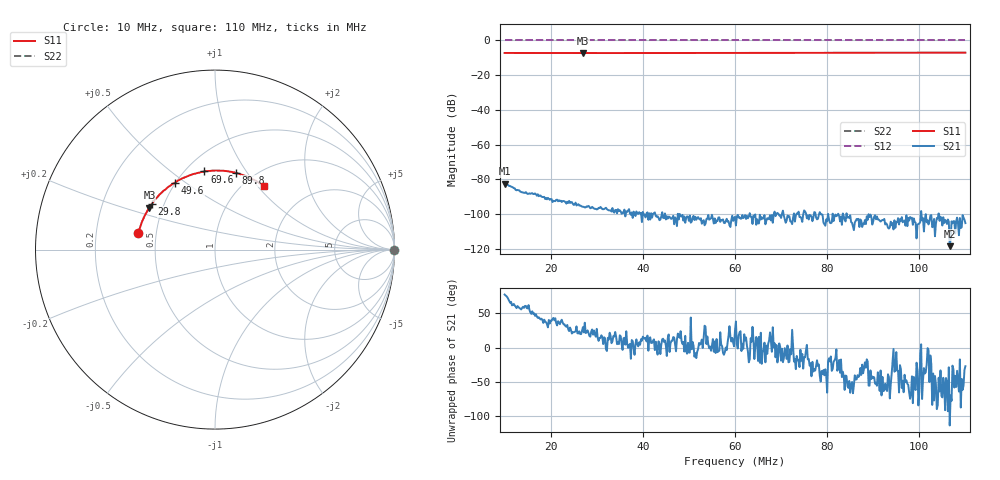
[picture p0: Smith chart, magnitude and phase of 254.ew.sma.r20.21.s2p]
! Anritsu VNA Master:  Model: MS2036C/10/77
! SN:  1601066
! /card0/usr/254.ew.sma.r20.21.s2p
! Existing Calibration Information:
! TYPE:  Current Settings,  Active Cal Settings
! TIME:  12/20/2017 01:01:08 PM,  12/20/2017 12:55:07 PM
! INTERNAL TEMP:  44.3 C,  44.3 C
! # POINTS:  501,  501
! START FREQ:  10.000 MHz,  10.000 MHz
! STOP FREQ:  110.000 MHz,  110.000 MHz
! SOURCE POWER:  High,  High
! IFBW:  100 Hz,  100 Hz
! AVG FACTOR:  1 ,  1
! REF PLANE 1:  0 mm,  0 mm
! REF PLANE 2:  0 mm,  0 mm
! CAL TYPE:  Full S11,  Full S11
! CAL METHOD:  SOLT,  SOLT
! CAL LINE TYPE:  Coax,  Coax
! DUT PORT 1:  N-Conn(F),  N-Conn(F)
! DUT PORT 2:  K-Conn(F),  K-Conn(F)
! CAL STATUS:  OK: Accuracy High,  --
# GHZ S DB R 50.0
! FREQ.GHZ  S11DB  S11A  S21DB  S21A  S12DB  S12A  S22DB  S22A
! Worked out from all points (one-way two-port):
!   501 points, 10 MHz to 110 MHz, reference 50 ohm
!   highest |S21| = -82.42 dB at 10 MHz (marker M1); lowest = -118.4 dB at 106.6 MHz (marker M2)
!   lowest |S11| = -7.3 dB at 27 MHz (marker M3), VSWR 2.53, Z = 21.2 + j12.2 ohm
!   |S11| at or under -10 dB: nowhere
!   |S22| runs from 0.0 to 0.0 dB; largest |S21 - S12| = 1
!   S11 on the Smith chart (normalised r, x): 10 MHz: 0.40, +0.09; 29.8 MHz: 0.43, +0.27; 49.6 MHz: 0.50, +0.46; 69.6 MHz: 0.62, +0.66; 89.8 MHz: 0.83, +0.89; 110 MHz: 1.23, +1.08
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0.01  -7.20 167.8  -82.42 77.5  0.00 0.0  0.00 0.0
0.0142  -7.21 162.7  -87.73 58.0  0.00 0.0  0.00 0.0
0.019  -7.23 156.9  -90.63 37.1  0.00 0.0  0.00 0.0
0.0268  -7.25 147.6  -95.64 25.1  0.00 0.0  0.00 0.0
0.027  -7.26 147.4  -95.71 29.9  0.00 0.0  0.00 0.0
0.0298  -7.24 144.2  -96.94 15.9  0.00 0.0  0.00 0.0
0.0364  -7.22 136.2  -98.40 23.9  0.00 0.0  0.00 0.0
0.041  -7.22 131.0  -98.98 17.6  0.00 0.0  0.00 0.0
0.0434  -7.23 128.0  -101.97 9.2  0.00 0.0  0.00 0.0
0.0476  -7.21 123.1  -99.78 20.6  0.00 0.0  0.00 0.0
0.0496  -7.23 120.8  -101.24 -8.9  0.00 0.0  0.00 0.0
0.0546  -7.19 114.9  -102.79 1.7  0.00 0.0  0.00 0.0
0.06  -7.19 108.8  -101.50 25.2  0.00 0.0  0.00 0.0
0.0628  -7.17 105.6  -102.36 -5.6  0.00 0.0  0.00 0.0
0.0696  -7.14 97.7  -100.73 6.2  0.00 0.0  0.00 0.0
0.0768  -7.12 89.5  -104.04 -20.8  0.00 0.0  0.00 0.0
0.0842  -7.09 81.1  -99.49 -41.6  0.00 0.0  0.00 0.0
0.0898  -7.07 74.7  -105.98 -42.1  0.00 0.0  0.00 0.0
0.0934  -7.06 70.7  -108.28 -43.2  0.00 0.0  0.00 0.0
0.0998  -7.04 63.5  -105.59 -84.5  0.00 0.0  0.00 0.0
0.1066  -7.02 55.9  -118.41 -113.8  0.00 0.0  0.00 0.0
0.11  -7.00 52.1  -105.15 -27.2  0.00 0.0  0.00 0.0
